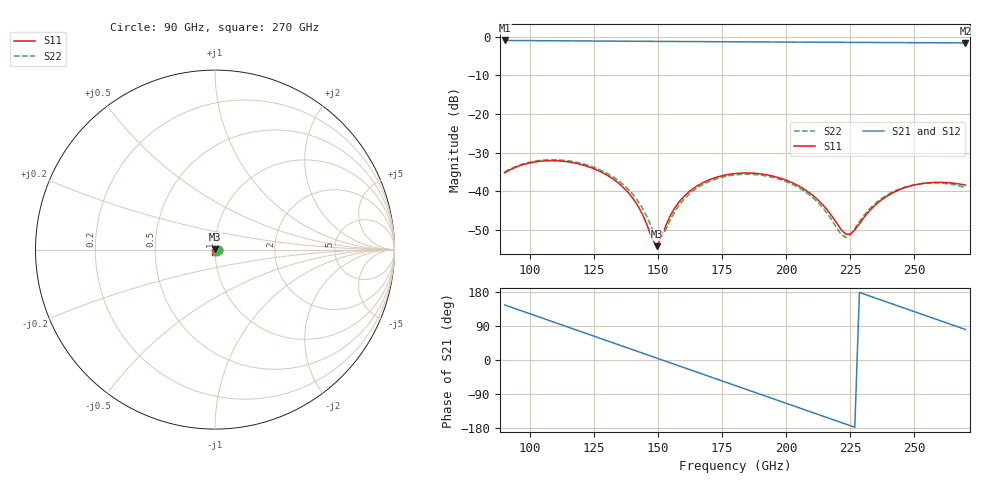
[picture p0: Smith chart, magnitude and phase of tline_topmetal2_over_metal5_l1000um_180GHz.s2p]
#  GHZ S DB R 50
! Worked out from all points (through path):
!   101 points, 90 GHz to 270 GHz, reference 50 ohm
!   highest |S21| = -0.99 dB at 90 GHz (marker M1); lowest = -1.6 dB at 270 GHz (marker M2)
!   group delay of S21, straight-line fit = 6.56 ps
!   lowest |S11| = -54.1 dB at 149.4 GHz (marker M3), VSWR 1.00, Z = 49.9 + j0.168 ohm
!   |S11| at or under -10 dB: start of sweep to end of sweep
!   |S22| runs from -52.1 to -31.8 dB; largest |S21 - S12| = 1.5e-13
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90  -35.19 -7.7  -0.99 145.3  -0.99 145.3  -35.00 -8.5
106.2  -32.08 -46.1  -1.05 107.1  -1.05 107.1  -31.85 -47.0
120.6  -33.17 -81.5  -1.11 73.1  -1.11 73.1  -32.84 -82.6
131.4  -36.37 -109.9  -1.15 47.6  -1.15 47.6  -35.84 -111.3
138.6  -40.51 -131.9  -1.18 30.6  -1.18 30.6  -39.64 -133.5
144  -46.10 -156.3  -1.20 17.8  -1.20 17.8  -44.48 -156.9
147.6  -52.29 164.4  -1.22 9.3  -1.22 9.3  -49.53 172.4
149.4  -54.14 120.8  -1.22 5.1  -1.22 5.1  -52.01 142.1
151.2  -51.91 80.0  -1.23 0.8  -1.23 0.8  -52.11 102.3
156.6  -44.13 34.6  -1.25 -11.9  -1.25 -11.9  -45.10 40.9
162  -40.10 14.3  -1.27 -24.6  -1.27 -24.6  -40.76 17.3
169.2  -37.19 -7.0  -1.30 -41.6  -1.30 -41.6  -37.65 -5.4
180  -35.38 -36.1  -1.34 -67.1  -1.34 -67.1  -35.72 -35.2
194.4  -35.97 -74.7  -1.38 -101.1  -1.38 -101.1  -36.31 -74.0
203.4  -38.07 -100.5  -1.41 -122.3  -1.41 -122.3  -38.48 -99.9
210.6  -41.12 -124.3  -1.44 -139.3  -1.44 -139.3  -41.72 -123.9
223.2  -51.02 143.9  -1.48 -169.0  -1.48 -169.0  -51.88 133.5
226.8  -49.94 92.1  -1.49 -177.5  -1.49 -177.5  -49.58 83.1
234  -44.00 39.4  -1.51 165.5  -1.51 165.5  -43.54 36.8
241.2  -40.50 11.4  -1.53 148.5  -1.53 148.5  -40.23 10.6
255.6  -37.76 -33.5  -1.58 114.5  -1.58 114.5  -37.80 -32.4
270  -38.38 -78.0  -1.62 80.5  -1.62 80.5  -39.01 -75.0
